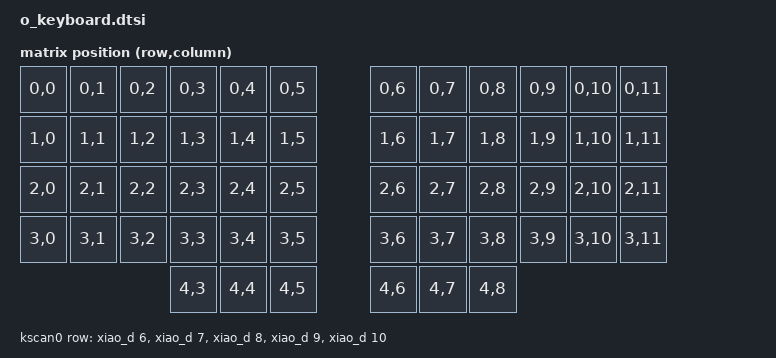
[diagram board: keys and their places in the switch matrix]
#include <dt-bindings/zmk/matrix_transform.h> // Put this with the other includes at the top of your dtsi

/ {
    chosen {
        zmk,kscan = &kscan0;
        zmk,physical-layout = &physical_layout0;
    };

    soft_off_wakers {
        compatible = "zmk,soft-off-wakeup-sources";
        wakeup-sources = <&wakeup_d_key>;
        status = "okay";
    };

    wakeup_d_key: wakeup_d_key {
        compatible = "zmk,gpio-key-wakeup-trigger";
        trigger = <&kscan0>;
        wakeup-source;
        key-positions = <15>; // D key position (row 2, col 3: RC(2,3))
        extra-gpios
            = <&xiao_d 8 (GPIO_ACTIVE_HIGH | GPIO_PULL_DOWN)>  // Row 2
            , <&xiao_d 3 GPIO_ACTIVE_HIGH>                      // Col 3
            ;
    };

    default_transform: keymap_transform0 {
        compatible = "zmk,matrix-transform";
        columns = <12>;
        rows = <5>;
        map = <
RC(0,0) RC(0,1) RC(0,2) RC(0,3) RC(0,4) RC(0,5)  RC(0,6) RC(0,7) RC(0,8) RC(0,9) RC(0,10) RC(0,11)
RC(1,0) RC(1,1) RC(1,2) RC(1,3) RC(1,4) RC(1,5)  RC(1,6) RC(1,7) RC(1,8) RC(1,9) RC(1,10) RC(1,11)
RC(2,0) RC(2,1) RC(2,2) RC(2,3) RC(2,4) RC(2,5)  RC(2,6) RC(2,7) RC(2,8) RC(2,9) RC(2,10) RC(2,11)
RC(3,0) RC(3,1) RC(3,2) RC(3,3) RC(3,4) RC(3,5)  RC(3,6) RC(3,7) RC(3,8) RC(3,9) RC(3,10) RC(3,11)
                        RC(4,3) RC(4,4) RC(4,5)  RC(4,6) RC(4,7) RC(4,8)
        >;
    };

    kscan0: kscan0 {
        compatible = "zmk,kscan-gpio-matrix";
        diode-direction = "col2row";
        wakeup-source;
        soft-off-mode;

        row-gpios
            = <&xiao_d 6 (GPIO_ACTIVE_HIGH | GPIO_PULL_DOWN)>
            , <&xiao_d 7 (GPIO_ACTIVE_HIGH | GPIO_PULL_DOWN)>
            , <&xiao_d 8 (GPIO_ACTIVE_HIGH | GPIO_PULL_DOWN)>
            , <&xiao_d 9 (GPIO_ACTIVE_HIGH | GPIO_PULL_DOWN)>
            , <&xiao_d 10 (GPIO_ACTIVE_HIGH | GPIO_PULL_DOWN)>
            ;

    };

    physical_layout0: physical_layout_0 { // First physical layout, use different naming for other layouts
        compatible = "zmk,physical-layout";
        display-name = "Default Layout";
        kscan = <&kscan0>; // Label of the kscan node, optional if all layouts use the same
        transform = <&default_transform>; // Label of the matrix transform for this layout
    };
};
